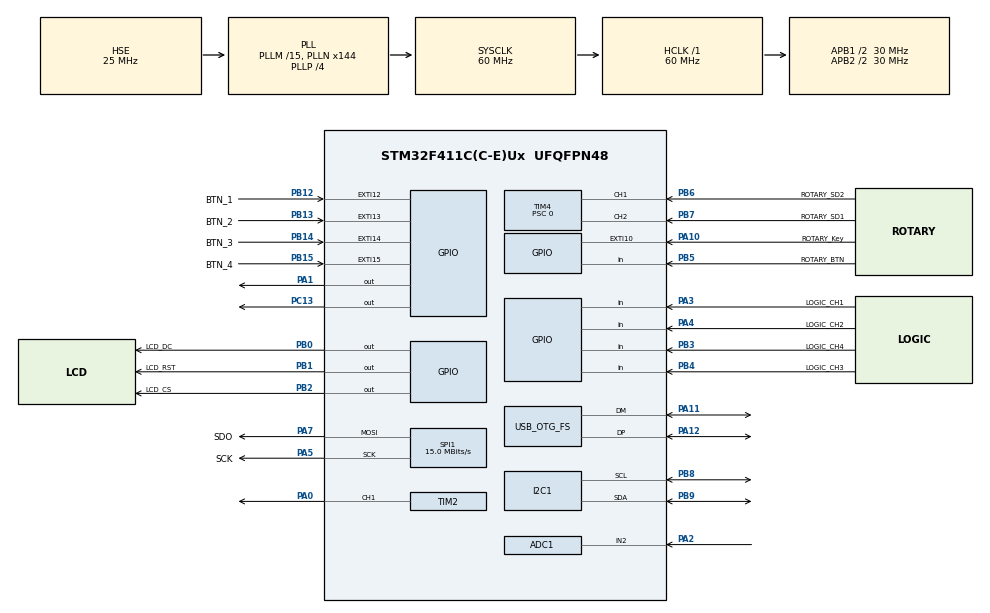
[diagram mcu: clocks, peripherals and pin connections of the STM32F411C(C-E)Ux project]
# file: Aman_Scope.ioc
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ADC1.Channel-1\#ChannelRegularConversion=ADC_CHANNEL_2
ADC1.ContinuousConvMode=DISABLE
ADC1.DMAContinuousRequests=ENABLE
ADC1.ExternalTrigConv=ADC_EXTERNALTRIGCONV_T2_TRGO
ADC1.ExternalTrigConvEdge=ADC_EXTERNALTRIGCONVEDGE_RISINGFALLING
ADC1.NbrOfConversionFlag=1
ADC1.Rank-1\#ChannelRegularConversion=1
ADC1.Resolution=ADC_RESOLUTION_12B
ADC1.SamplingTime-1\#ChannelRegularConversion=ADC_SAMPLETIME_3CYCLES
ADC1.ScanConvMode=DISABLE
ADC1.master=1
Dma.ADC1.0.Direction=DMA_PERIPH_TO_MEMORY
Dma.ADC1.0.FIFOMode=DMA_FIFOMODE_DISABLE
Dma.ADC1.0.Instance=DMA2_Stream0
Dma.ADC1.0.MemDataAlignment=DMA_MDATAALIGN_HALFWORD
Dma.ADC1.0.MemInc=DMA_MINC_ENABLE
Dma.ADC1.0.Mode=DMA_CIRCULAR
Dma.ADC1.0.PeriphDataAlignment=DMA_PDATAALIGN_HALFWORD
Dma.ADC1.0.PeriphInc=DMA_PINC_DISABLE
Dma.ADC1.0.Priority=DMA_PRIORITY_VERY_HIGH
Dma.Request0=ADC1
Dma.Request1=SPI1_TX
Dma.SPI1_TX.1.Direction=DMA_MEMORY_TO_PERIPH
Dma.SPI1_TX.1.FIFOMode=DMA_FIFOMODE_DISABLE
Dma.SPI1_TX.1.Instance=DMA2_Stream2
Dma.SPI1_TX.1.MemDataAlignment=DMA_MDATAALIGN_BYTE
Dma.SPI1_TX.1.MemInc=DMA_MINC_ENABLE
Dma.SPI1_TX.1.Mode=DMA_NORMAL
Dma.SPI1_TX.1.PeriphDataAlignment=DMA_PDATAALIGN_BYTE
Dma.SPI1_TX.1.PeriphInc=DMA_PINC_DISABLE
Dma.SPI1_TX.1.Priority=DMA_PRIORITY_LOW
Mcu.Family=STM32F4
Mcu.Name=STM32F411C(C-E)Ux
Mcu.Package=UFQFPN48
NVIC.ADC_IRQn=true\:0\:0\:false\:false\:true\:true\:true\:true
NVIC.DMA2_Stream0_IRQn=true\:0\:0\:false\:false\:true\:false\:true\:true
NVIC.DMA2_Stream2_IRQn=true\:0\:0\:false\:false\:true\:false\:true\:true
NVIC.EXTI15_10_IRQn=true\:0\:0\:false\:false\:true\:true\:true\:true
NVIC.OTG_FS_IRQn=true\:0\:0\:false\:false\:true\:false\:true\:true
NVIC.PriorityGroup=NVIC_PRIORITYGROUP_4
NVIC.TIM2_IRQn=true\:0\:0\:false\:false\:true\:true\:true\:true
NVIC.TIM4_IRQn=true\:0\:0\:false\:false\:true\:true\:true\:true
PA0-WKUP.Signal=S_TIM2_CH1_ETR
PA1.Signal=GPIO_Output
PA10.GPIO_Label=ROTARY_Key
PA10.GPIO_ModeDefaultEXTI=GPIO_MODE_IT_FALLING
PA10.GPIO_PuPd=GPIO_PULLUP
PA10.Signal=GPXTI10
PA11.Mode=Device_Only
PA11.Signal=USB_OTG_FS_DM
PA12.Mode=Device_Only
PA12.Signal=USB_OTG_FS_DP
PA2.Signal=ADCx_IN2
PA3.GPIO_Label=LOGIC_CH1
PA3.Signal=GPIO_Input
PA4.GPIO_Label=LOGIC_CH2
PA4.Signal=GPIO_Input
PA5.GPIO_Label=SCK
PA5.GPIO_PuPd=GPIO_PULLDOWN
PA5.Mode=TX_Only_Simplex_Unidirect_Master
PA5.Signal=SPI1_SCK
PA7.GPIO_Label=SDO
PA7.Mode=TX_Only_Simplex_Unidirect_Master
PA7.Signal=SPI1_MOSI
PB0.GPIO_Label=LCD_DC
PB0.GPIO_PuPd=GPIO_PULLUP
PB0.GPIO_Speed=GPIO_SPEED_FREQ_HIGH
PB0.PinState=GPIO_PIN_SET
PB0.Signal=GPIO_Output
PB1.GPIO_Label=LCD_RST
PB1.GPIO_PuPd=GPIO_PULLUP
PB1.GPIO_Speed=GPIO_SPEED_FREQ_VERY_HIGH
PB1.PinState=GPIO_PIN_SET
PB1.Signal=GPIO_Output
PB12.GPIO_Label=BTN_1
PB12.GPIO_ModeDefaultEXTI=GPIO_MODE_IT_FALLING
PB12.GPIO_PuPd=GPIO_PULLDOWN
PB12.Signal=GPXTI12
PB13.GPIO_Label=BTN_2
PB13.GPIO_ModeDefaultEXTI=GPIO_MODE_IT_FALLING
PB13.GPIO_PuPd=GPIO_PULLDOWN
PB13.Signal=GPXTI13
PB14.GPIO_Label=BTN_3
PB14.GPIO_ModeDefaultEXTI=GPIO_MODE_IT_FALLING
PB14.GPIO_PuPd=GPIO_PULLDOWN
PB14.Signal=GPXTI14
PB15.GPIO_Label=BTN_4
PB15.GPIO_ModeDefaultEXTI=GPIO_MODE_IT_FALLING
PB15.GPIO_PuPd=GPIO_PULLDOWN
PB15.Signal=GPXTI15
PB2.GPIO_Label=LCD_CS
PB2.GPIO_PuPd=GPIO_PULLUP
PB2.GPIO_Speed=GPIO_SPEED_FREQ_VERY_HIGH
PB2.PinState=GPIO_PIN_SET
PB2.Signal=GPIO_Output
PB3.GPIO_Label=LOGIC_CH4
PB3.Signal=GPIO_Input
PB4.GPIO_Label=LOGIC_CH3
PB4.Signal=GPIO_Input
PB5.GPIO_Label=ROTARY_BTN
PB5.Signal=GPIO_Input
PB6.GPIO_Label=ROTARY_SD2
PB6.Signal=S_TIM4_CH1
PB7.GPIO_Label=ROTARY_SD1
PB7.Signal=S_TIM4_CH2
PB8.Mode=I2C
PB8.Signal=I2C1_SCL
PB9.Mode=I2C
PB9.Signal=I2C1_SDA
PC13-ANTI_TAMP.Signal=GPIO_Output
PH0\ -\ OSC_IN.Mode=HSE-External-Oscillator
PH0\ -\ OSC_IN.Signal=RCC_OSC_IN
PH1\ -\ OSC_OUT.Mode=HSE-External-Oscillator
PH1\ -\ OSC_OUT.Signal=RCC_OSC_OUT
ProjectManager.HeapSize=0x200
ProjectManager.StackSize=0x400
ProjectManager.TargetToolchain=STM32CubeIDE
RCC.48MHZClocksFreq_Value=48000000
RCC.AHBFreq_Value=60000000
RCC.APB1CLKDivider=RCC_HCLK_DIV2
RCC.APB1Freq_Value=30000000
RCC.APB1TimFreq_Value=60000000
RCC.APB2CLKDivider=RCC_HCLK_DIV2
RCC.APB2Freq_Value=30000000
RCC.APB2TimFreq_Value=60000000
RCC.CortexFreq_Value=60000000
RCC.HCLKFreq_Value=60000000
RCC.HSE_VALUE=25000000
RCC.HSI_VALUE=16000000
RCC.LSE_VALUE=32768
RCC.PLLM=15
RCC.PLLN=144
RCC.PLLP=RCC_PLLP_DIV4
RCC.PLLQ=5
RCC.SYSCLKFreq_VALUE=60000000
RCC.SYSCLKSource=RCC_SYSCLKSOURCE_PLLCLK
RCC.VCOOutputFreq_Value=240000000
SH.ADCx_IN2.0=ADC1_IN2,IN2
SH.S_TIM2_CH1_ETR.0=TIM2_CH1,Output Compare1 CH1
SH.S_TIM4_CH1.0=TIM4_CH1,Encoder_Interface
SH.S_TIM4_CH2.0=TIM4_CH2,Encoder_Interface
SPI1.BaudRatePrescaler=SPI_BAUDRATEPRESCALER_2
SPI1.CalculateBaudRate=15.0 MBits/s
SPI1.Direction=SPI_DIRECTION_2LINES
SPI1.Mode=SPI_MODE_MASTER
SPI1.VirtualType=VM_MASTER
TIM2.AutoReloadPreload=TIM_AUTORELOAD_PRELOAD_ENABLE
TIM2.Channel-Output\ Compare1\ CH1=TIM_CHANNEL_1
TIM2.OCMode_1=TIM_OCMODE_TOGGLE
TIM2.Period=23
TIM2.Prescaler=0
TIM2.TIM_MasterOutputTrigger=TIM_TRGO_UPDATE
TIM4.CounterMode=TIM_COUNTERMODE_UP
TIM4.EncoderMode=TIM_ENCODERMODE_TI12
TIM4.IC1Polarity=TIM_ICPOLARITY_FALLING
TIM4.IC2Polarity=TIM_ICPOLARITY_FALLING
TIM4.Period=21000
TIM4.Prescaler=0
USB_DEVICE.CLASS_NAME_FS=CDC
USB_DEVICE.VirtualMode=Cdc
USB_DEVICE.VirtualModeFS=Cdc_FS
USB_OTG_FS.VirtualMode=Device_Only
VP_TIM2_VS_ClockSourceINT.Mode=Internal
VP_USB_DEVICE_VS_USB_DEVICE_CDC_FS.Mode=CDC_FS
board=custom

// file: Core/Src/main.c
/* USER CODE BEGIN Header */
/**
 ******************************************************************************
 * @file           : main.c
 * @brief          : Main program body
 ******************************************************************************
 * @attention
 *
 * Copyright (c) 2024 STMicroelectronics.
 * All rights reserved.
 *
 * This software is licensed under terms that can be found in the LICENSE file
 * in the root directory of this software component.
 * If no LICENSE file comes with this software, it is provided AS-IS.
 *
 ******************************************************************************
 */
/* USER CODE END Header */
#include "main.h"

#include "usb_device.h"

/* USER CODE BEGIN Includes */
#include "usbd_cdc_if.h"

#include "lcd.h"

#include <stdint.h>

#include <stdio.h>

#include <string.h>

#include "ui.h"

#include "scope.h"

#define DEBOUNCE_DELAY_MS 200
/* USER CODE END Includes */
ADC_HandleTypeDef hadc1;
DMA_HandleTypeDef hdma_adc1;
I2C_HandleTypeDef hi2c1;
SPI_HandleTypeDef hspi1;
DMA_HandleTypeDef hdma_spi1_tx;
TIM_HandleTypeDef htim2;
TIM_HandleTypeDef htim4;
void SystemClock_Config(void);
static void MX_GPIO_Init(void);
static void MX_DMA_Init(void);
static void MX_SPI1_Init(void);
static void MX_ADC1_Init(void);
static void MX_TIM2_Init(void);
static void MX_TIM4_Init(void);
static void MX_I2C1_Init(void);
/* USER CODE BEGIN 0 */
uint16_t values[312];
uint16_t values_preScale[312];
uint16_t old_values[312];
uint16_t DMA_values[312];
uint16_t map_vals[312];
uint8_t RX_BUFFER[1] = {
    0
};
int16_t wave_color = 0xFFFF;
uint8_t trigger_mode = 0;
uint16_t trigger_level = 1000;
uint16_t old_trigger_level = 1000;
uint32_t timer_counter = 0;
uint32_t result = 0;
uint16_t selected_option = 0;

//This variable controls which menu the GUI is currently in
uint8_t menu_val = 0;

/*
menu_val = 0: Main screen with the 5 buttons and waveform
menu_val = 1: USB Mode
menu_val = 2: Trigger options menu
menu_val = 3: Scaling options menu
menu_val = 4: Miscellaneous options menu (Grid, Rolling, Color)
menu_val = 5: Measurements and cursors menu
menu_val = 6: Wave color menu
menu_val = 7: Trigger level menu
menu_val = 8: Move cursor X menu
menu_val = 9: Move cursor Y menu
menu_val = 10: X division menu
menu_val = 11: X offset menu
menu_val = 12: Y offset menu
menu_val = 13: Y division menu
*/

int completed = 0;
int flag = 0;
int grid_flag = 0;
int draw_trigger_flag = 0;
int rolling_flag = 0;
int counter = 0;
int completed_adc = 0;
int show_cursors = 0;
int cursor_x = 50;
int cursor_y = 50;
int prev_cursor_x = 50;
int prev_cursor_y = 50;
int run_scope = 1;
int PSC = 0.0;
int ARR = 5999.0;
int x_div_option = 0;
int y_div_option = 0;
int x_shift = 50;
int y_shift = 0;
int usb_mode = 0;
int button_rotary = 0;
int rotary_divider = 24;
int clearFrame = 0;
int afe_toggle = 0;
/* USER CODE END 0 */
int main(void) {
    /* MCU Configuration--------------------------------------------------------*/
    /* Reset of all peripherals, Initializes the Flash interface and the Systick. */
    HAL_Init();
    /* Configure the system clock */
    SystemClock_Config();
    /* Initialize all configured peripherals */
    MX_GPIO_Init();
    MX_DMA_Init();
    MX_SPI1_Init();
    MX_ADC1_Init();
    MX_TIM2_Init();
    MX_TIM4_Init();
    MX_I2C1_Init();
    MX_USB_DEVICE_Init();
    /* USER CODE BEGIN 2 */
    //initialize and start display, ADC, and timers
    LCD_init();
    HAL_TIM_Base_Start( & htim2);
    HAL_ADC_Start_DMA( & hadc1, (uint32_t * ) DMA_values, 312);
    HAL_TIM_OC_Start( & htim2, TIM_CHANNEL_1); //Debugging timer to see time between measurements
    //initialize to first menu
    menu_val = 0;
    selected_option = 0;
    grid_flag = 1;
    rolling_flag = 0;
    //initialize and start rotary encoder and draw initial GUI
    HAL_GPIO_WritePin(GPIOA, GPIO_PIN_1, 0);
    HAL_TIM_Encoder_Start_IT( & htim4, TIM_CHANNEL_ALL);
    scopeMenu();
    drawTriggerIcon(trigger_mode);
    /* USER CODE END 2 */
    /* Infinite loop */
    /* USER CODE BEGIN WHILE */
    //runs most of the UI elements

    //menu_val legend
    /*
    menu_val = 0: Main screen with the 5 buttons and waveform
    menu_val = 1: USB Mode
    menu_val = 2: Trigger options menu
    menu_val = 3: Scaling options menu
    menu_val = 4: Miscellaneous options menu (Grid, Rolling, Color)
    menu_val = 5: Measurements and cursors menu
    menu_val = 6: Wave color menu
    menu_val = 7: Trigger level menu
    menu_val = 8: Move cursor X menu
    menu_val = 9: Move cursor Y menu
    menu_val = 10: X division menu
    menu_val = 11: X offset menu
    menu_val = 12: Y offset menu
    menu_val = 13: Y division menu
    */

    while (1) {
        if (menu_val == 0) {
            selected_option = result % 5;
            init_scope();
            drawOscButtons(selected_option, values_preScale, cursor_x, cursor_y, afe_toggle);
            if (usb_mode == 1) {
                drawOscButtons(selected_option, values_preScale, cursor_x, cursor_y, afe_toggle);
                if (completed_adc) {
                    CDC_Transmit_FS((uint8_t * ) DMA_values, 624); // 624 = 312 * 2
                }
            }
        } else if (menu_val == 1) {
            drawMenu1();
        } else if (menu_val == 2) {
            selected_option = result % 3;
            drawMenu2(selected_option);
        } else if (menu_val == 3) {
            selected_option = result % 3;
            drawMenu3(selected_option);
        } else if (menu_val == 4) {
            selected_option = result % 3;
            drawMenu4(selected_option);
        } else if (menu_val == 5) {
            selected_option = result % 3;
            drawMenu5(selected_option);
        } else if (menu_val == 6) {
            selected_option = result % 5;
            wave_color = drawMenu6(selected_option);
        } else if (menu_val == 7) {
            rotary_divider = 5;
            old_trigger_level = selected_option;
            selected_option = (result % 159) + 31;
            drawTriggerLevel(selected_option, old_trigger_level);
            trigger_level = 4096 - (selected_option - 31) * 32;
            init_scope();
        } else if (menu_val == 8) {
            rotary_divider = 1;
            selected_option = (result % 314) + 3; //display is 3 to 316 pixels wide where graph is shown
            prev_cursor_x = cursor_x;
            cursor_x = selected_option;
            init_scope();
        } else if (menu_val == 9) {
            rotary_divider = 1;
            selected_option = (result % 159) + 31;
            prev_cursor_y = cursor_y;
            cursor_y = selected_option;
            init_scope();
        } else if (menu_val == 10) {
            selected_option = result % 11;
            x_div_option = selected_option;
            init_scope();
        } else if (menu_val == 11) {
            rotary_divider = 1;
            selected_option = (result % 314) + 3; //display is 3 to 316 pixels wide where graph is shown
            x_shift = selected_option;
            init_scope();
        } else if (menu_val == 12) {
            rotary_divider = 1;
            selected_option = result;
            y_shift = selected_option;
            init_scope();
        } else if (menu_val == 13) {
            //0.825/div, 0.50/div, 0.25/div, 0.1/div, 0.05/div
            //conv factor: 1, 1.65, 3.3, 8.25, 16.5
            selected_option = result % 5;
            y_div_option = selected_option;
            init_scope();
        }
        /* USER CODE END WHILE */
    }
}
void SystemClock_Config(void) {
    RCC_OscInitTypeDef RCC_OscInitStruct = {
        0
    };
    RCC_ClkInitTypeDef RCC_ClkInitStruct = {
        0
    };
    /** Configure the main internal regulator output voltage
     */
    __HAL_RCC_PWR_CLK_ENABLE();
    __HAL_PWR_VOLTAGESCALING_CONFIG(PWR_REGULATOR_VOLTAGE_SCALE1);
    /** Initializes the RCC Oscillators according to the specified parameters
     * in the RCC_OscInitTypeDef structure.
     */
    RCC_OscInitStruct.OscillatorType = RCC_OSCILLATORTYPE_HSE;
    RCC_OscInitStruct.HSEState = RCC_HSE_ON;
    RCC_OscInitStruct.PLL.PLLState = RCC_PLL_ON;
    RCC_OscInitStruct.PLL.PLLSource = RCC_PLLSOURCE_HSE;
    RCC_OscInitStruct.PLL.PLLM = 15;
    RCC_OscInitStruct.PLL.PLLN = 144;
    RCC_OscInitStruct.PLL.PLLP = RCC_PLLP_DIV4;
    RCC_OscInitStruct.PLL.PLLQ = 5;
    if (HAL_RCC_OscConfig( & RCC_OscInitStruct) != HAL_OK) {
        Error_Handler();
    }
    /** Initializes the CPU, AHB and APB buses clocks
     */
    RCC_ClkInitStruct.ClockType = RCC_CLOCKTYPE_HCLK | RCC_CLOCKTYPE_SYSCLK |
        RCC_CLOCKTYPE_PCLK1 | RCC_CLOCKTYPE_PCLK2;
    RCC_ClkInitStruct.SYSCLKSource = RCC_SYSCLKSOURCE_PLLCLK;
    RCC_ClkInitStruct.AHBCLKDivider = RCC_SYSCLK_DIV1;
    RCC_ClkInitStruct.APB1CLKDivider = RCC_HCLK_DIV2;
    RCC_ClkInitStruct.APB2CLKDivider = RCC_HCLK_DIV2;
    if (HAL_RCC_ClockConfig( & RCC_ClkInitStruct, FLASH_LATENCY_1) != HAL_OK) {
        Error_Handler();
    }
}
static void MX_ADC1_Init(void) {
    ADC_ChannelConfTypeDef sConfig = {
        0
    };
    /** Configure the global features of the ADC (Clock, Resolution, Data Alignment and number of conversion)
     */
    hadc1.Instance = ADC1;
    hadc1.Init.ClockPrescaler = ADC_CLOCK_SYNC_PCLK_DIV2;
    hadc1.Init.Resolution = ADC_RESOLUTION_12B;
    hadc1.Init.ScanConvMode = DISABLE;
    hadc1.Init.ContinuousConvMode = DISABLE;
    hadc1.Init.DiscontinuousConvMode = DISABLE;
    hadc1.Init.ExternalTrigConvEdge = ADC_EXTERNALTRIGCONVEDGE_RISINGFALLING;
    hadc1.Init.ExternalTrigConv = ADC_EXTERNALTRIGCONV_T2_TRGO;
    hadc1.Init.DataAlign = ADC_DATAALIGN_RIGHT;
    hadc1.Init.NbrOfConversion = 1;
    hadc1.Init.DMAContinuousRequests = ENABLE;
    hadc1.Init.EOCSelection = ADC_EOC_SINGLE_CONV;
    if (HAL_ADC_Init( & hadc1) != HAL_OK) {
        Error_Handler();
    }
    /** Configure for the selected ADC regular channel its corresponding rank in the sequencer and its sample time.
     */
    sConfig.Channel = ADC_CHANNEL_2;
    sConfig.Rank = 1;
    sConfig.SamplingTime = ADC_SAMPLETIME_3CYCLES;
    if (HAL_ADC_ConfigChannel( & hadc1, & sConfig) != HAL_OK) {
        Error_Handler();
    }
}
static void MX_I2C1_Init(void) {
    hi2c1.Instance = I2C1;
    hi2c1.Init.ClockSpeed = 100000;
    hi2c1.Init.DutyCycle = I2C_DUTYCYCLE_2;
    hi2c1.Init.OwnAddress1 = 0;
    hi2c1.Init.AddressingMode = I2C_ADDRESSINGMODE_7BIT;
    hi2c1.Init.DualAddressMode = I2C_DUALADDRESS_DISABLE;
    hi2c1.Init.OwnAddress2 = 0;
    hi2c1.Init.GeneralCallMode = I2C_GENERALCALL_DISABLE;
    hi2c1.Init.NoStretchMode = I2C_NOSTRETCH_DISABLE;
    if (HAL_I2C_Init( & hi2c1) != HAL_OK) {
        Error_Handler();
    }
}
static void MX_SPI1_Init(void) {
    /* SPI1 parameter configuration*/
    hspi1.Instance = SPI1;
    hspi1.Init.Mode = SPI_MODE_MASTER;
    hspi1.Init.Direction = SPI_DIRECTION_2LINES;
    hspi1.Init.DataSize = SPI_DATASIZE_8BIT;
    hspi1.Init.CLKPolarity = SPI_POLARITY_LOW;
    hspi1.Init.CLKPhase = SPI_PHASE_1EDGE;
    hspi1.Init.NSS = SPI_NSS_SOFT;
    hspi1.Init.BaudRatePrescaler = SPI_BAUDRATEPRESCALER_2;
    hspi1.Init.FirstBit = SPI_FIRSTBIT_MSB;
    hspi1.Init.TIMode = SPI_TIMODE_DISABLE;
    hspi1.Init.CRCCalculation = SPI_CRCCALCULATION_DISABLE;
    hspi1.Init.CRCPolynomial = 10;
    if (HAL_SPI_Init( & hspi1) != HAL_OK) {
        Error_Handler();
    }
}
static void MX_TIM2_Init(void) {
    TIM_ClockConfigTypeDef sClockSourceConfig = {
        0
    };
    TIM_MasterConfigTypeDef sMasterConfig = {
        0
    };
    TIM_OC_InitTypeDef sConfigOC = {
        0
    };
    htim2.Instance = TIM2;
    htim2.Init.Prescaler = 0;
    htim2.Init.CounterMode = TIM_COUNTERMODE_UP;
    htim2.Init.Period = 23;
    htim2.Init.ClockDivision = TIM_CLOCKDIVISION_DIV1;
    htim2.Init.AutoReloadPreload = TIM_AUTORELOAD_PRELOAD_ENABLE;
    if (HAL_TIM_Base_Init( & htim2) != HAL_OK) {
        Error_Handler();
    }
    sClockSourceConfig.ClockSource = TIM_CLOCKSOURCE_INTERNAL;
    if (HAL_TIM_ConfigClockSource( & htim2, & sClockSourceConfig) != HAL_OK) {
        Error_Handler();
    }
    if (HAL_TIM_OC_Init( & htim2) != HAL_OK) {
        Error_Handler();
    }
    sMasterConfig.MasterOutputTrigger = TIM_TRGO_UPDATE;
    sMasterConfig.MasterSlaveMode = TIM_MASTERSLAVEMODE_DISABLE;
    if (HAL_TIMEx_MasterConfigSynchronization( & htim2, & sMasterConfig) != HAL_OK) {
        Error_Handler();
    }
    sConfigOC.OCMode = TIM_OCMODE_TOGGLE;
    sConfigOC.Pulse = 0;
    sConfigOC.OCPolarity = TIM_OCPOLARITY_HIGH;
    sConfigOC.OCFastMode = TIM_OCFAST_DISABLE;
    if (HAL_TIM_OC_ConfigChannel( & htim2, & sConfigOC, TIM_CHANNEL_1) != HAL_OK) {
        Error_Handler();
    }
    HAL_TIM_MspPostInit( & htim2);
}
static void MX_TIM4_Init(void) {
    TIM_Encoder_InitTypeDef sConfig = {
        0
    };
    TIM_MasterConfigTypeDef sMasterConfig = {
        0
    };
    htim4.Instance = TIM4;
    htim4.Init.Prescaler = 0;
    htim4.Init.CounterMode = TIM_COUNTERMODE_UP;
    htim4.Init.Period = 21000;
    htim4.Init.ClockDivision = TIM_CLOCKDIVISION_DIV1;
    htim4.Init.AutoReloadPreload = TIM_AUTORELOAD_PRELOAD_DISABLE;
    sConfig.EncoderMode = TIM_ENCODERMODE_TI12;
    sConfig.IC1Polarity = TIM_ICPOLARITY_FALLING;
    sConfig.IC1Selection = TIM_ICSELECTION_DIRECTTI;
    sConfig.IC1Prescaler = TIM_ICPSC_DIV1;
    sConfig.IC1Filter = 0;
    sConfig.IC2Polarity = TIM_ICPOLARITY_FALLING;
    sConfig.IC2Selection = TIM_ICSELECTION_DIRECTTI;
    sConfig.IC2Prescaler = TIM_ICPSC_DIV1;
    sConfig.IC2Filter = 0;
    if (HAL_TIM_Encoder_Init( & htim4, & sConfig) != HAL_OK) {
        Error_Handler();
    }
    sMasterConfig.MasterOutputTrigger = TIM_TRGO_RESET;
    sMasterConfig.MasterSlaveMode = TIM_MASTERSLAVEMODE_DISABLE;
    if (HAL_TIMEx_MasterConfigSynchronization( & htim4, & sMasterConfig) != HAL_OK) {
        Error_Handler();
    }
}
static void MX_DMA_Init(void) {
    /* DMA controller clock enable */
    __HAL_RCC_DMA2_CLK_ENABLE();
    /* DMA interrupt init */
    /* DMA2_Stream0_IRQn interrupt configuration */
    HAL_NVIC_SetPriority(DMA2_Stream0_IRQn, 0, 0);
    HAL_NVIC_EnableIRQ(DMA2_Stream0_IRQn);
    /* DMA2_Stream2_IRQn interrupt configuration */
    HAL_NVIC_SetPriority(DMA2_Stream2_IRQn, 0, 0);
    HAL_NVIC_EnableIRQ(DMA2_Stream2_IRQn);
}
static void MX_GPIO_Init(void) {
    GPIO_InitTypeDef GPIO_InitStruct = {
        0
    };
    /* GPIO Ports Clock Enable */
    __HAL_RCC_GPIOC_CLK_ENABLE();
    __HAL_RCC_GPIOH_CLK_ENABLE();
    __HAL_RCC_GPIOA_CLK_ENABLE();
    __HAL_RCC_GPIOB_CLK_ENABLE();
    /*Configure GPIO pin Output Level */
    HAL_GPIO_WritePin(GPIOC, GPIO_PIN_13, GPIO_PIN_RESET);
    /*Configure GPIO pin Output Level */
    HAL_GPIO_WritePin(GPIOA, GPIO_PIN_1, GPIO_PIN_RESET);
    /*Configure GPIO pin Output Level */
    HAL_GPIO_WritePin(GPIOB, LCD_DC_Pin | LCD_RST_Pin | LCD_CS_Pin, GPIO_PIN_SET);
    /*Configure GPIO pin : PC13 */
    GPIO_InitStruct.Pin = GPIO_PIN_13;
    GPIO_InitStruct.Mode = GPIO_MODE_OUTPUT_PP;
    GPIO_InitStruct.Pull = GPIO_NOPULL;
    GPIO_InitStruct.Speed = GPIO_SPEED_FREQ_LOW;
    HAL_GPIO_Init(GPIOC, & GPIO_InitStruct);
    /*Configure GPIO pin : PA1 */
    GPIO_InitStruct.Pin = GPIO_PIN_1;
    GPIO_InitStruct.Mode = GPIO_MODE_OUTPUT_PP;
    GPIO_InitStruct.Pull = GPIO_NOPULL;
    GPIO_InitStruct.Speed = GPIO_SPEED_FREQ_LOW;
    HAL_GPIO_Init(GPIOA, & GPIO_InitStruct);
    /*Configure GPIO pins : LOGIC_CH1_Pin LOGIC_CH2_Pin */
    GPIO_InitStruct.Pin = LOGIC_CH1_Pin | LOGIC_CH2_Pin;
    GPIO_InitStruct.Mode = GPIO_MODE_INPUT;
    GPIO_InitStruct.Pull = GPIO_NOPULL;
    HAL_GPIO_Init(GPIOA, & GPIO_InitStruct);
    /*Configure GPIO pin : LCD_DC_Pin */
    GPIO_InitStruct.Pin = LCD_DC_Pin;
    GPIO_InitStruct.Mode = GPIO_MODE_OUTPUT_PP;
    GPIO_InitStruct.Pull = GPIO_PULLUP;
    GPIO_InitStruct.Speed = GPIO_SPEED_FREQ_HIGH;
    HAL_GPIO_Init(LCD_DC_GPIO_Port, & GPIO_InitStruct);
    /*Configure GPIO pins : LCD_RST_Pin LCD_CS_Pin */
    GPIO_InitStruct.Pin = LCD_RST_Pin | LCD_CS_Pin;
    GPIO_InitStruct.Mode = GPIO_MODE_OUTPUT_PP;
    GPIO_InitStruct.Pull = GPIO_PULLUP;
    GPIO_InitStruct.Speed = GPIO_SPEED_FREQ_VERY_HIGH;
    HAL_GPIO_Init(GPIOB, & GPIO_InitStruct);
    /*Configure GPIO pins : BTN_1_Pin BTN_2_Pin BTN_3_Pin BTN_4_Pin */
    GPIO_InitStruct.Pin = BTN_1_Pin | BTN_2_Pin | BTN_3_Pin | BTN_4_Pin;
    GPIO_InitStruct.Mode = GPIO_MODE_IT_FALLING;
    GPIO_InitStruct.Pull = GPIO_PULLDOWN;
    HAL_GPIO_Init(GPIOB, & GPIO_InitStruct);
    /*Configure GPIO pin : ROTARY_Key_Pin */
    GPIO_InitStruct.Pin = ROTARY_Key_Pin;
    GPIO_InitStruct.Mode = GPIO_MODE_IT_FALLING;
    GPIO_InitStruct.Pull = GPIO_PULLUP;
    HAL_GPIO_Init(ROTARY_Key_GPIO_Port, & GPIO_InitStruct);
    /*Configure GPIO pins : LOGIC_CH4_Pin LOGIC_CH3_Pin ROTARY_BTN_Pin */
    GPIO_InitStruct.Pin = LOGIC_CH4_Pin | LOGIC_CH3_Pin | ROTARY_BTN_Pin;
    GPIO_InitStruct.Mode = GPIO_MODE_INPUT;
    GPIO_InitStruct.Pull = GPIO_NOPULL;
    HAL_GPIO_Init(GPIOB, & GPIO_InitStruct);
    /* EXTI interrupt init*/
    HAL_NVIC_SetPriority(EXTI15_10_IRQn, 0, 0);
    HAL_NVIC_EnableIRQ(EXTI15_10_IRQn);
}
/* USER CODE BEGIN 4 */
//This function is responsible for drawing the waveform and restarting new measurements
void init_scope() {
    //Toggles drawing the grid, clearing frame, and trigger icon on the GUI
    if (grid_flag) {
        drawGrid();
    }
    if (clearFrame == 1) {
        clearMenuFrame();
        clearFrame = 0;
    } else if (clearFrame == 2) {
        clearFullFrame();
        clearFrame = 0;
    }
    if (draw_trigger_flag == 1) {
        drawTriggerIcon(trigger_mode);
        draw_trigger_flag = 0;
    }
    //Moves collected ADC values into new array, restarts ADC, then runs main oscilloscope functionality
    if (completed_adc == 1 && !rolling_flag && run_scope) {
        memmove(values, DMA_values, 312 * sizeof(uint16_t));
        memmove(values_preScale, DMA_values, 312 * sizeof(uint16_t));
        completed_adc = 0;
        startScope( & htim2, PSC, ARR);
        HAL_ADC_Start_DMA( & hadc1, (uint32_t * ) DMA_values, 312);
        mapScreen(values, y_shift, y_div_option, map_vals, afe_toggle);
        drawWaveform(values, old_values, wave_color);
        drawCursors(show_cursors, cursor_x, cursor_y, prev_cursor_x, prev_cursor_y, PSC, ARR, map_vals, values, afe_toggle);
        drawUsbMode(usb_mode);
        drawDiv(x_div_option, & PSC, & ARR, y_div_option);
        //updates waveform with previously stored values if ADC did not complete a transfer
    } else if (completed_adc == 0 && !rolling_flag && run_scope == 0) {
        drawWaveform(values, old_values, wave_color);
        drawCursors(show_cursors, cursor_x, cursor_y, prev_cursor_x, prev_cursor_y, PSC, ARR, map_vals, values, afe_toggle);
        drawUsbMode(usb_mode);
        drawDiv(x_div_option, & PSC, & ARR, y_div_option);
        //ROLLING MODE
    } else if (rolling_flag && run_scope) {
        if (counter == 312) {
            counter = 0;
        }
        UG_DrawLine(counter + 3, 31, counter + 3, 189, C_BLACK);
        LCD_DrawPixel(counter + 3, 189 - HAL_ADC_GetValue( & hadc1) / 26, wave_color);
        counter++;
    }
    //copies current waveform into old_values to be used for clearing
    memcpy(old_values, values, 312 * sizeof(uint16_t));
}
//ADC callback function, gets called once a full conversion of 312 values is measured and transferred via DMA
void HAL_ADC_ConvCpltCallback(ADC_HandleTypeDef * hadc) {
    //stop ADC once one full conversion of 312 values is complete
    HAL_TIM_Base_Stop( & htim2);
    HAL_ADC_Stop_DMA( & hadc1);
    //Toggles GPIO Pin for debugging purposes, to measure time between measurements
    HAL_GPIO_TogglePin(GPIOA, GPIO_PIN_1);
    //Trigger logic, checks if it is rising or falling with a 10% tolerance
    if ((DMA_values[x_shift] > trigger_level / 1.10 && DMA_values[x_shift] < trigger_level * 1.10) && (trigger_mode == 1) && (DMA_values[x_shift] > DMA_values[x_shift - 6]) && !rolling_flag) {
        completed_adc = 1;
    } else if ((DMA_values[x_shift] > trigger_level / 1.10 && DMA_values[x_shift] < trigger_level * 1.10) && (trigger_mode == 2) && (DMA_values[x_shift] < DMA_values[x_shift - 6]) && !rolling_flag) {
        completed_adc = 1;
    } else if (trigger_mode == 0) {
        completed_adc = 1;
    } else {
        startScope( & htim2, PSC, ARR);
        HAL_ADC_Start_DMA( & hadc1, (uint32_t * ) DMA_values, 312);
    }
}

//menu_val legend
/*
menu_val = 0: Main screen with the 5 buttons and waveform
menu_val = 1: USB Mode
menu_val = 2: Trigger options menu
menu_val = 3: Scaling options menu
menu_val = 4: Miscellaneous options menu (Grid, Rolling, Color)
menu_val = 5: Measurements and cursors menu
menu_val = 6: Wave color menu
menu_val = 7: Trigger level menu
menu_val = 8: Move cursor X menu
menu_val = 9: Move cursor Y menu
menu_val = 10: X division menu
menu_val = 11: X offset menu
menu_val = 12: Y offset menu
menu_val = 13: Y division menu
*/

void HAL_GPIO_EXTI_Callback(uint16_t GPIO_Pin) {
    static uint32_t last_interrupt_time = 0;
    uint32_t current_time = HAL_GetTick();
    if ((current_time - last_interrupt_time) > DEBOUNCE_DELAY_MS) {
        last_interrupt_time = current_time;
        if (GPIO_Pin == ROTARY_Key_Pin) {
            //main osc menu, go to one of the 5 buttons
            if (menu_val == 0) {
                if (selected_option == 0) {
                    usb_mode = !usb_mode;
                    menu_val = 0;
                    clearFrame = 2;
                    counter = 0;
                    startScope( & htim2, PSC, ARR);
                } else if (selected_option == 1) {
                    menu_val = 2;
                    stopScope( & htim2);
                } else if (selected_option == 2) {
                    menu_val = 3;
                    stopScope( & htim2);
                } else if (selected_option == 3) {
                    menu_val = 4;
                    stopScope( & htim2);
                } else if (selected_option == 4) {
                    menu_val = 5;
                    stopScope( & htim2);
                }
            } else if (menu_val == 2) {
                if (selected_option == 0) {
                    menu_val = 7;
                    clearFrame = 2;
                    counter = 0;
                    startScope( & htim2, PSC, ARR);
                } else if (selected_option == 1) {
                    if (trigger_mode == 2 || trigger_mode == 0) {
                        trigger_mode = 1;
                        draw_trigger_flag = 1;
                        menu_val = 0;
                        clearFrame = 2;
                        counter = 0;
                        startScope( & htim2, PSC, ARR);
                    } else {
                        trigger_mode = 0;
                        draw_trigger_flag = 1;
                        menu_val = 0;
                        clearFrame = 2;
                        counter = 0;
                        startScope( & htim2, PSC, ARR);
                    }
                } else if (selected_option == 2) {
                    if (trigger_mode == 1 || trigger_mode == 0) {
                        trigger_mode = 2;
                        draw_trigger_flag = 1;
                        menu_val = 0;
                        clearFrame = 2;
                        counter = 0;
                        startScope( & htim2, PSC, ARR);
                    } else {
                        trigger_mode = 0;
                        draw_trigger_flag = 1;
                        menu_val = 0;
                        clearFrame = 2;
                        counter = 0;
                        startScope( & htim2, PSC, ARR);
                    }
                }
            } else if (menu_val == 3) {
                if (selected_option == 1) {
                    menu_val = 10;
                    selected_option = 4;
                    clearFrame = 2;
                    counter = 0;
                    HAL_TIM_Base_Stop( & htim4);
                    __HAL_TIM_SET_COUNTER( & htim4, 0);
                    HAL_TIM_Base_Start( & htim4);
                } else if (selected_option == 0) {
                    menu_val = 11;
                    selected_option = 4;
                    clearFrame = 2;
                    counter = 0;
                } else if (selected_option == 2) {
                    menu_val = 13;
                    selected_option = 4;
                    clearFrame = 2;
                    counter = 0;
                    HAL_TIM_Base_Stop( & htim4);
                    __HAL_TIM_SET_COUNTER( & htim4, 0);
                    HAL_TIM_Base_Start( & htim4);
                }
            } else if (menu_val == 4) {
                if (selected_option == 0) {
                    grid_flag = !grid_flag;
                    menu_val = 0;
                    clearFrame = 2;
                    counter = 0;
                    startScope( & htim2, PSC, ARR);
                } else if (selected_option == 1) {
                    rolling_flag = !rolling_flag;
                    menu_val = 0;
                    clearFrame = 2;
                    counter = 0;
                    HAL_ADC_Start_DMA( & hadc1, (uint32_t * ) DMA_values, 312);
                } else if (selected_option == 2) {
                    menu_val = 6;
                }
            } else if (menu_val == 5) {
                if (selected_option == 0) {
                    menu_val = 0;
                    selected_option = 4;
                    clearFrame = 2;
                    counter = 0;
                    show_cursors = !show_cursors;
                    startScope( & htim2, PSC, ARR);
                } else if (selected_option == 1) {
                    menu_val = 8;
                    show_cursors = 1;
                    clearFrame = 2;
                    counter = 0;
                    startScope( & htim2, PSC, ARR);
                } else if (selected_option == 2) {
                    menu_val = 9;
                    show_cursors = 1;
                    clearFrame = 2;
                    counter = 0;
                    startScope( & htim2, PSC, ARR);
                }
            } else if (menu_val == 6) {
                menu_val = 0;
                selected_option = 4;
                clearFrame = 2;
                counter = 0;
                startScope( & htim2, PSC, ARR);
            } else if (menu_val == 7) {
                menu_val = 0;
                selected_option = 4;
                clearFrame = 2;
                counter = 0;
                rotary_divider = 24;
                startScope( & htim2, PSC, ARR);
            } else if (menu_val == 8) {
                menu_val = 0;
                selected_option = 4;
                clearFrame = 2;
                counter = 0;
                rotary_divider = 24;
                startScope( & htim2, PSC, ARR);
            } else if (menu_val == 9) {
                menu_val = 0;
                selected_option = 4;
                clearFrame = 2;
                counter = 0;
                rotary_divider = 24;
                startScope( & htim2, PSC, ARR);
            } else if (menu_val == 10) {
                menu_val = 0;
                selected_option = 4;
                clearFrame = 2;
                counter = 0;
                startScope( & htim2, PSC, ARR);
            } else if (menu_val == 11) {
                menu_val = 12;
                selected_option = 4;
                clearFrame = 2;
                counter = 0;
                startScope( & htim2, PSC, ARR);
                __HAL_TIM_SET_COUNTER( & htim4, 0);
            } else if (menu_val == 12) {
                menu_val = 0;
                selected_option = 4;
                clearFrame = 2;
                counter = 0;
                rotary_divider = 24;
                startScope( & htim2, PSC, ARR);
            } else if (menu_val == 13) {
                menu_val = 0;
                clearFrame = 2;
                counter = 0;
                startScope( & htim2, PSC, ARR);
            }
            //BACK BUTTON
        } else if (GPIO_Pin == BTN_1_Pin) {
            if (menu_val == 1) {
                menu_val = 0;
                selected_option = 0;
                clearFrame = 2;
                counter = 0;
                startScope( & htim2, PSC, ARR);
            } else if (menu_val == 2) {
                menu_val = 0;
                selected_option = 1;
                clearFrame = 2;
                counter = 0;
                startScope( & htim2, PSC, ARR);
            } else if (menu_val == 3) {
                menu_val = 0;
                selected_option = 2;
                clearFrame = 2;
                counter = 0;
                startScope( & htim2, PSC, ARR);
            } else if (menu_val == 4) {
                menu_val = 0;
                selected_option = 3;
                clearFrame = 2;
                counter = 0;
                startScope( & htim2, PSC, ARR);
            } else if (menu_val == 5) {
                menu_val = 0;
                selected_option = 4;
                clearFrame = 2;
                counter = 0;
                startScope( & htim2, PSC, ARR);
            } else if (menu_val == 6) {
                menu_val = 0;
                selected_option = 4;
                clearFrame = 2;
                counter = 0;
                startScope( & htim2, PSC, ARR);
            } else if (menu_val == 7) {
                menu_val = 0;
                selected_option = 4;
                clearFrame = 2;
                counter = 0;
                rotary_divider = 24;
                startScope( & htim2, PSC, ARR);
            } else if (menu_val == 8) {
                menu_val = 0;
                selected_option = 4;
                clearFrame = 2;
                counter = 0;
                rotary_divider = 24;
                startScope( & htim2, PSC, ARR);
            } else if (menu_val == 9) {
                menu_val = 0;
                selected_option = 4;
                clearFrame = 2;
                counter = 0;
                rotary_divider = 24;
                startScope( & htim2, PSC, ARR);
            } else if (menu_val == 10) {
                menu_val = 0;
                selected_option = 4;
                clearFrame = 2;
                counter = 0;
                startScope( & htim2, PSC, ARR);
            } else if (menu_val == 11) {
                menu_val = 0;
                selected_option = 4;
                clearFrame = 2;
                counter = 0;
                rotary_divider = 24;
                startScope( & htim2, PSC, ARR);
            } else if (menu_val == 12) {
                menu_val = 0;
                selected_option = 4;
                clearFrame = 2;
                counter = 0;
                rotary_divider = 24;
                startScope( & htim2, PSC, ARR);
            } else if (menu_val == 13) {
                menu_val = 0;
                clearFrame = 2;
                counter = 0;
                startScope( & htim2, PSC, ARR);
            }
            //RESET X BUTTON
        } else if (GPIO_Pin == BTN_3_Pin) { //resets the x/y dividers and offsets
            x_shift = 0;
            x_div_option = 0;
            y_shift = 0;
            y_div_option = 0;
            rotary_divider = 24;
            menu_val = 0;
            clearFrame = 2;
            counter = 0;
            startScope( & htim2, PSC, ARR);
            //RESET Y BUTTON
        } else if (GPIO_Pin == BTN_4_Pin) { //toggles analog front end adjustments in graph
        	afe_toggle = !afe_toggle;
            rotary_divider = 24;
            menu_val = 0;
            clearFrame = 2;
            counter = 0;
            startScope( & htim2, PSC, ARR);
        } else if (GPIO_Pin == ROTARY_Key_Pin) {
            button_rotary++;
            //RUN/STOP BUTTOn
        } else if (GPIO_Pin == BTN_2_Pin) { //pauses or resumes the scope from displaying new waveforms
            run_scope = !run_scope;
        }
    }
}
//Timer callback function for the rotary encoder to update the rotate position
void HAL_TIM_IC_CaptureCallback(TIM_HandleTypeDef * htim) {
    timer_counter = __HAL_TIM_GET_COUNTER(htim);
    result = timer_counter / rotary_divider;
}
/* USER CODE END 4 */
void Error_Handler(void) {
    __disable_irq();
    while (1) {}
}
